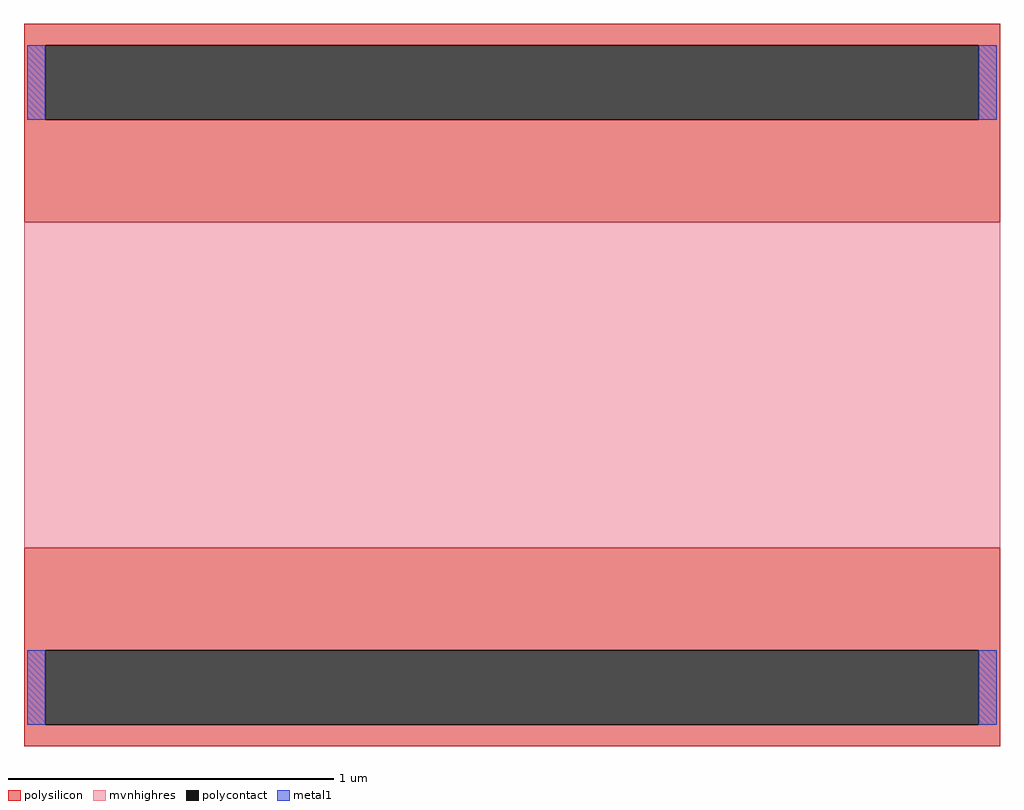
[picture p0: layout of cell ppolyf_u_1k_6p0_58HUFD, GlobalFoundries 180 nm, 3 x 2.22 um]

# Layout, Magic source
magic
tech gf180mcuD
magscale 1 10
<< polysilicon >>
rect -300 209 300 222
rect -300 163 -287 209
rect 287 163 300 209
rect -300 100 300 163
rect -300 -163 300 -100
rect -300 -209 -287 -163
rect 287 -209 300 -163
rect -300 -222 300 -209
<< polycontact >>
rect -287 163 287 209
rect -287 -209 287 -163
<< mvnhighres >>
rect -300 -100 300 100
<< metal1 >>
rect -298 163 -287 209
rect 287 163 298 209
rect -298 -209 -287 -163
rect 287 -209 298 -163
<< properties >>
string gencell ppolyf_u_1k_6p0
string library gf180mcu
string parameters w 3.0 l 1.0 m 1 nx 1 wmin 1.000 lmin 1.000 class resistor rho 1000 val 336.654 dummy 0 dw 0.0296 term 0.0 sterm 0.0 caplen 0.4 snake 0 glc 0 grc 0 gtc 0 gbc 0 roverlap 0 endcov 100 full_metal 0 guard 0 guard_type pwell compatible {ppolyf_u_1k ppolyf_u_1k_6p0}
<< end >>
